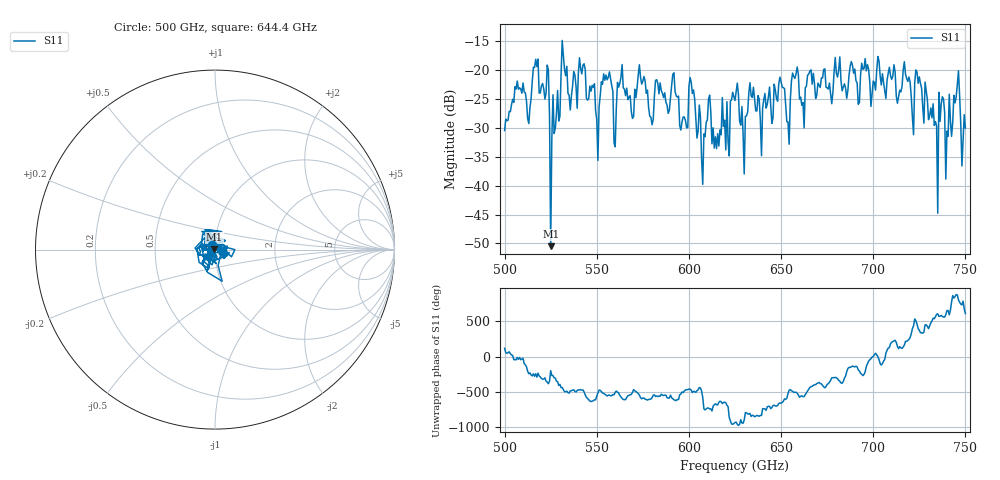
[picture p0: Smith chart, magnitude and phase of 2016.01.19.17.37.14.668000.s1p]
!Created with skrf (http://scikit-rf.org).
# GHz S RI R 50.0
!freq ReS11 ImS11
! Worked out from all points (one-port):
!   401 points, 500 GHz to 750 GHz, reference 50 ohm
!   lowest |S11| = -50.5 dB at 525 GHz (marker M1), VSWR 1.01, Z = 49.7 + j0.0949 ohm
!   |S11| at or under -10 dB: start of sweep to end of sweep
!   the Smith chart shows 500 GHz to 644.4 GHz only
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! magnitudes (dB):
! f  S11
! 500 GHz  -30.5
! 506.9 GHz  -21.9
! 513.1 GHz  -29.2
! 516.9 GHz  -18.1
! 525 GHz  -50.5
! 531.2 GHz  -14.9
! 541.9 GHz  -20.7
! 550.6 GHz  -35.6
! 553.8 GHz  -20.7
! 559.4 GHz  -32.6
! 562.5 GHz  -22.3
! 593.8 GHz  -24.7
! 598.1 GHz  -28.7
! 601.2 GHz  -22.1
! 608.1 GHz  -31.0
! 610.6 GHz  -25.0
! 615 GHz  -33.6
! 625 GHz  -25.3
! 628.8 GHz  -26.3
! 633.8 GHz  -24.5
! 650 GHz  -22.0
! 653.8 GHz  -29.0
! 656.2 GHz  -20.5
! 687.5 GHz  -19.3
! 718.8 GHz  -22.0
! 733.8 GHz  -28.9
! 745 GHz  -24.6
! 750 GHz  -30.0
